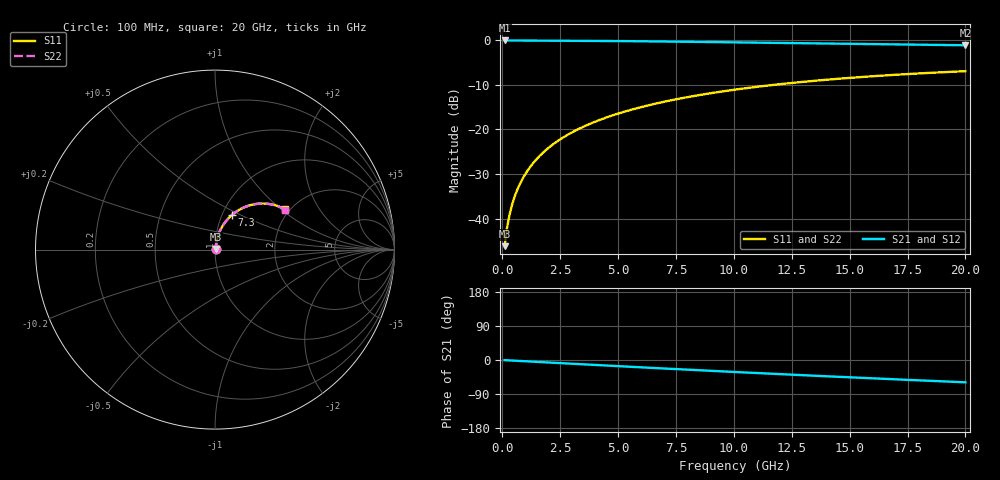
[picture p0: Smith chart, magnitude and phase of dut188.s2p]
! Touchstone file exported from HFSS 2026.1.0
!  File:  C:/ffzhzh/LocalFiles/Ansys_Project_Files/temp_train_BSMRDL_188_1782987368_45328.aedt
!  Generated:  06:19:16 PM Jul  2, 2026
!  Design:  BSMRDL
!  Project:  temp_train_BSMRDL_188_1782987368_45328
! Variables:
!  h_bsmrdl = 3.89um
!  h_ox = 20um
!  h_rdl = 5um
!  h_sub = 80um
!  h_tmrdl = 5um
!  h_tsv = 80um
!  h_via = 3um
!  l_bsmrdl = 931.85um
!  l_sub = 1331.85um
!  l_tmrdl = 200um
!  m_sub = 200um
!  pitch = 53.03um
!  r_tsv = 6um
!  s_tmrdl = 10um
!  w_bsmrdl = 26.25um
!  w_sub = 500um
!  w_tmrdl = 12um
!  x_tsv_center1 = 206um
!  x_tsv_center2 = 1164.1um
!  x_tsv_center3 = 1376.1um
!  x_tsv_center4 = 2334.2um
!  x_tsv_center5 = 2546.2um
!  x_tsv_center6 = 3504.3um
# GHz S MA R 50.000000
! Terminal data exported
! Port[1] = BSM_RDL1_1_T1
! Port[2] = BSM_RDL1_1_T2
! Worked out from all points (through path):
!   200 points, 100 MHz to 20 GHz, reference 50 ohm
!   highest |S21| = -0.03 dB at 100 MHz (marker M1); lowest = -1.1 dB at 20 GHz (marker M2)
!   group delay of S21, straight-line fit = 8.17 ps
!   lowest |S11| = -46.2 dB at 100 MHz (marker M3), VSWR 1.01, Z = 50.3 + j0.348 ohm
!   |S11| at or under -10 dB: start of sweep to 11.71 GHz
!   |S22| runs from -46.2 to -6.9 dB; largest |S21 - S12| = 4.4e-15
!   S11 on the Smith chart (normalised r, x): 100 MHz: 1.01, +0.01; 7.3 GHz: 1.11, +0.45; 20 GHz: 1.90, +1.06
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0.1  0.004911 44.8  0.9965 -0.4  0.9965 -0.4  0.004911 44.8
! Gamma 0 0 0 0
! Port Impedance 50 0 50 0
0.2  0.007734 60.5  0.9963 -0.7  0.9963 -0.7  0.007734 60.5
0.3  0.01069 67.3  0.996 -1.0  0.996 -1.0  0.01069 67.3
0.4  0.01366 71.1  0.9958 -1.4  0.9958 -1.4  0.01366 71.1
0.5  0.01664 73.6  0.9956 -1.7  0.9956 -1.7  0.01664 73.6
0.6  0.01963 75.3  0.9955 -2.0  0.9955 -2.0  0.01963 75.3
0.8  0.02568 77.4  0.9952 -2.7  0.9952 -2.7  0.02568 77.3
1.1  0.03483 78.8  0.9948 -3.6  0.9948 -3.6  0.03483 78.8
1.5  0.04707 79.2  0.9941 -5.0  0.9941 -5.0  0.04707 79.2
1.8  0.05624 79.0  0.9935 -5.9  0.9935 -5.9  0.05624 79.0
2.1  0.06538 78.6  0.9927 -6.9  0.9927 -6.9  0.06539 78.6
2.7  0.08353 77.3  0.991 -8.9  0.991 -8.9  0.08353 77.3
3.5  0.1074 75.3  0.9881 -11.5  0.9881 -11.5  0.1074 75.2
4.2  0.1278 73.3  0.9851 -13.7  0.9851 -13.7  0.1278 73.3
5  0.1506 70.9  0.9812 -16.2  0.9812 -16.2  0.1506 70.9
6.8  0.1997 65.6  0.971 -21.9  0.971 -21.9  0.1997 65.6
7.3  0.2128 64.2  0.9679 -23.4  0.9679 -23.4  0.2128 64.1
8.6  0.2455 60.4  0.9594 -27.3  0.9594 -27.3  0.2455 60.3
10.1  0.281 56.1  0.949 -31.8  0.949 -31.8  0.281 56.0
13.4  0.3501 46.9  0.925 -41.3  0.925 -41.3  0.3501 46.8
16.7  0.4066 38.1  0.9013 -50.3  0.9013 -50.3  0.4066 38.0
20  0.4508 29.7  0.8801 -58.8  0.8801 -58.8  0.4508 29.6
